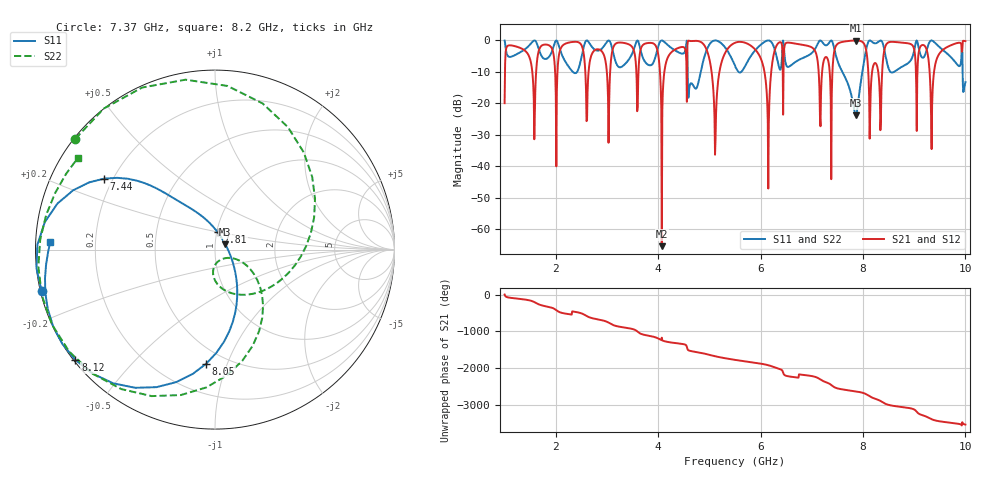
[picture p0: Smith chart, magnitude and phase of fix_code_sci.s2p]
! fixture-S
# HZ S MA R 50
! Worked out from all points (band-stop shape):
!   901 points, 1 GHz to 10 GHz, reference 50 ohm
!   highest |S21| = -0.02 dB at 7.86 GHz (marker M1); lowest = -65.4 dB at 4.07 GHz (marker M2)
!   |S21| within 3 dB of the highest: 6.459 GHz to 7.052 GHz (593.3 MHz wide, 8.78 % of centre); 7.445 GHz to 8.061 GHz (615.8 MHz wide, 7.94 % of centre)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
!   lowest |S11| = -23.8 dB at 7.86 GHz (marker M3), VSWR 1.14, Z = 55.9 + j3.43 ohm
!   |S11| at or under -10 dB: 2.334 GHz to 2.415 GHz (80.07 MHz wide, 3.37 % of centre); 4.575 GHz to 4.83 GHz (254.1 MHz wide, 5.4 % of centre); 7.597 GHz to 7.987 GHz (390.2 MHz wide, 5.01 % of centre)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
!   |S22| runs from -47.5 to 0.0 dB; largest |S21 - S12| = 0
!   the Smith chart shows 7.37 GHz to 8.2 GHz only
!   S11 on the Smith chart (normalised r, x): 7.37 GHz: 0.00, -0.12; 7.44 GHz: 0.17, +0.29; 7.81 GHz: 1.01, +0.20; 8.05 GHz: 0.39, -0.84; 8.12 GHz: 0.00, -0.35; 8.2 GHz: 0.04, +0.02
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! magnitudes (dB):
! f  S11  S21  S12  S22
! 1 GHz  0.0  -19.9  -19.9  0.0
! 2.5 GHz  -5.4  -1.5  -1.5  -5.4
! 2.61 GHz  0.0  -25.3  -25.3  0.0
! 4 GHz  -1.9  -4.5  -4.5  -1.9
! 4.07 GHz  0.0  -65.4  -65.4  -47.5
! 4.76 GHz  -14.8  -0.1  -0.1  -14.8
! 5.12 GHz  0.0  -31.3  -31.3  0.0
! 5.5 GHz  -7.9  -0.8  -0.8  -7.9
! 6.15 GHz  0.0  -47.0  -47.0  -0.3
! 6.33 GHz  -6.4  -1.1  -1.1  -6.4
! 7 GHz  -4.0  -2.2  -2.2  -4.0
! 7.37 GHz  -0.1  -18.6  -18.6  -0.1
! 7.44 GHz  -2.7  -3.3  -3.3  -2.7
! 7.81 GHz  -20.2  0.0  0.0  -20.2
! 7.86 GHz  -23.8  0.0  0.0  -23.8
! 8.05 GHz  -3.9  -2.3  -2.3  -3.9
! 8.12 GHz  -0.1  -17.6  -17.6  -0.1
! 8.2 GHz  -0.7  -8.1  -8.1  -0.7
! 8.5 GHz  -8.9  -0.6  -0.6  -8.9
! 9.2 GHz  -5.0  -1.6  -1.6  -5.0
! 9.34 GHz  0.0  -34.5  -34.5  0.0
! 10 GHz  -13.3  -0.2  -0.2  -13.3
